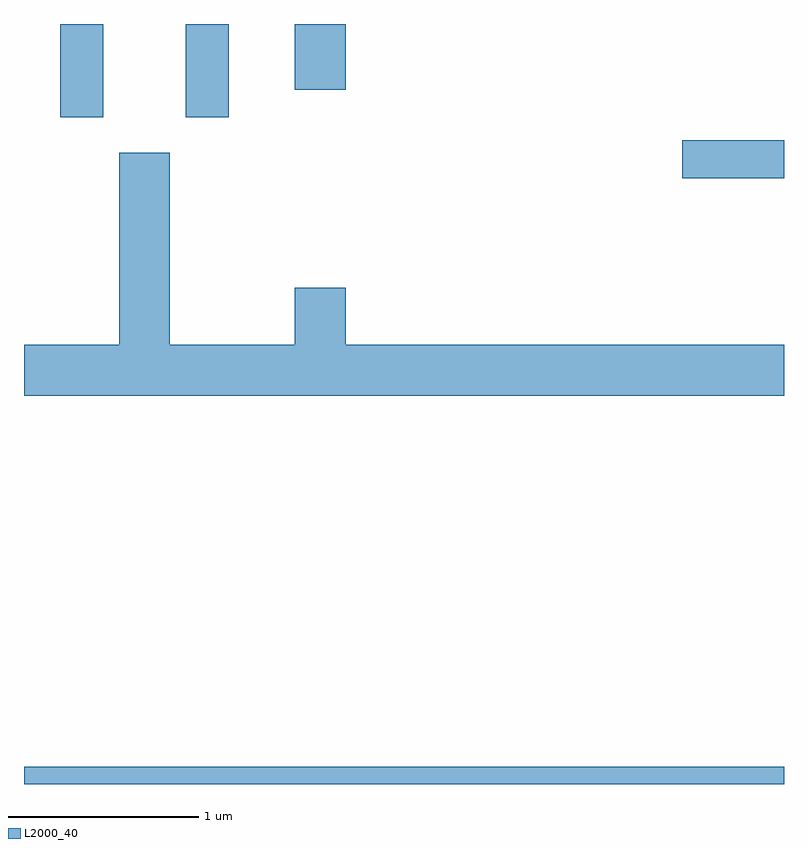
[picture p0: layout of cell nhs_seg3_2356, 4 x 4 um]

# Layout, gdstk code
import gdstk
lib = gdstk.Library(unit=1e-6, precision=1e-09)
def R(c, l, rs):  # rectangles x0, y0, x1, y1
    for r in rs: c.add(gdstk.rectangle(r[:2], r[2:], *l))
def P(c, l, *ps):  # polygons
    for p in ps: c.add(gdstk.Polygon(p, *l))
L2000_40 = (2000, 40)

nhs_seg3_2356 = lib.new_cell('nhs_seg3_2356')
R(nhs_seg3_2356, L2000_40, [(253.611,1203.892,257.611,1203.984), (257.076,1207.081,257.611,1207.279), (253.801,1207.401,254.029,1207.892), (254.461,1207.401,254.689,1207.892), (255.036,1207.546,255.304,1207.892)])
P(nhs_seg3_2356, L2000_40, [(257.611,1206.204),(255.304,1206.204),(255.304,1206.504),(255.036,1206.504),(255.036,1206.204),(254.379,1206.204),(254.379,1207.214),(254.111,1207.214),(254.111,1206.204),(253.611,1206.204),(253.611,1205.936),(257.611,1205.936)])

lib.write_gds('nhs_seg3_2356.gds')
